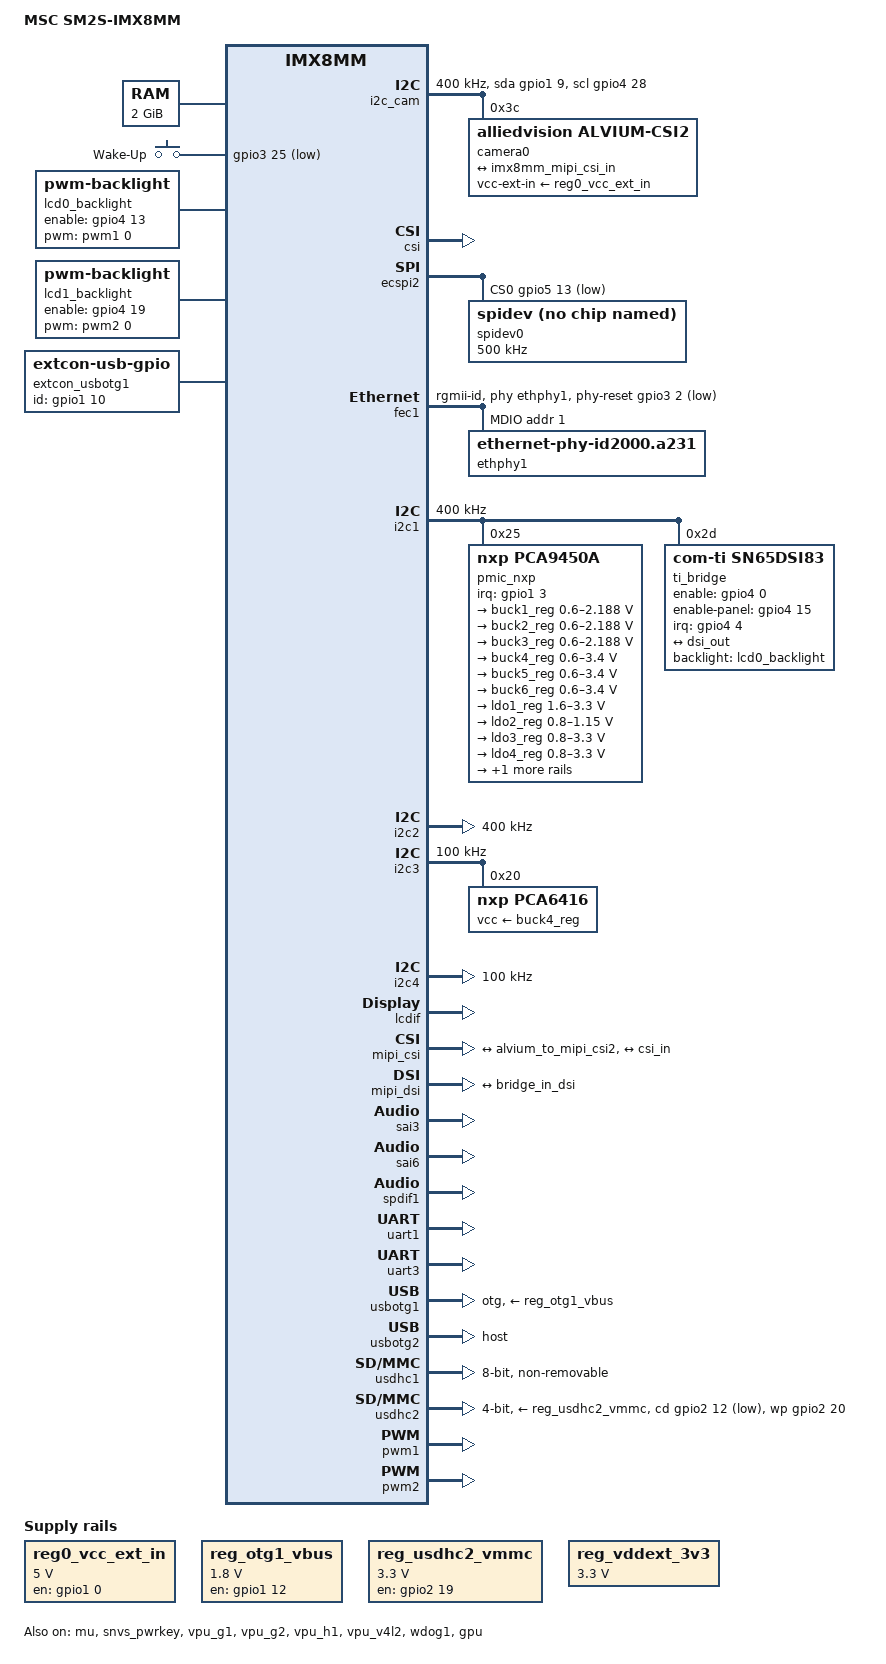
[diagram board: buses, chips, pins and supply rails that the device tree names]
// SPDX-License-Identifier: (GPL-2.0+ OR MIT)
/*
 * Copyright 2020 NXP
 */

/dts-v1/;

#include <dt-bindings/net/ti-dp83867.h>
#include <dt-bindings/phy/phy-imx8-pcie.h>
#include <dt-bindings/usb/pd.h>
#include "imx8mm.dtsi"

/ {
	model = "MSC SM2S-IMX8MM";
	compatible = "msc,imx8mm-sm2s", "fsl,imx8mm";

	aliases {
		i2c4 = &i2c_cam;
	};

	chosen {
		bootargs = "console=ttymxc0,115200 earlycon=ec_imx6q,0x30860000,115200";
		stdout-path = &uart1;
	};

	memory@40000000 {
		device_type = "memory";
		reg = <0x0 0x40000000 0 0x80000000>;
	};

	gpio-keys {
		compatible = "gpio-keys";
		pinctrl-names = "default";
		pinctrl-0 = <&pinctrl_gpio_keys>;

		key-wakeup {
			/* GPIO 8, linux-gpio-id=89 */
			debounce-interval = <10>;
			gpios = <&gpio3 25 GPIO_ACTIVE_LOW>;
			label = "Wake-Up";
			linux,code = <KEY_WAKEUP>;
			wakeup-source;
		};
	};

	reg0_vcc_ext_in: regulator0-vcc-ext-in {
		compatible = "regulator-fixed";
		regulator-name = "vcc0-ext-in";
		pinctrl-names = "default";
		pinctrl-0 = <&pinctrl_csi0_pwn>;
		regulator-min-microvolt = <5000000>;
		regulator-max-microvolt = <5000000>;
		gpio = <&gpio1 0 GPIO_ACTIVE_HIGH>;
		enable-active-high;
	};

	reg_otg1_vbus: reg-otg1-vbus {
		compatible = "regulator-fixed";
		regulator-name = "OTG1_VBUS";
		regulator-min-microvolt = <1800000>;
		regulator-max-microvolt = <1800000>;
		gpio = <&gpio1 12 GPIO_ACTIVE_HIGH>;
		enable-active-high;
	};

	reg_usdhc2_vmmc: reg-usdhc2-vmmc {
		compatible = "regulator-fixed";
		regulator-name = "VSD_3V3";
		regulator-min-microvolt = <3300000>;
		regulator-max-microvolt = <3300000>;
		gpio = <&gpio2 19 GPIO_ACTIVE_HIGH>;
		enable-active-high;
		startup-delay-us = <100>;
		u-boot,off-on-delay-us = <12000>;
	};

	reg_vddext_3v3: regulator-vddext-3v3 {
		compatible = "regulator-fixed";
		regulator-name = "VDDEXT_3V3";
		regulator-min-microvolt = <3300000>;
		regulator-max-microvolt = <3300000>;
	};

	lcd0_backlight: lcd0_backlight {
		pinctrl-names = "default";
		pinctrl-0 = <&pinctrl_lcd0_backlight>;
		compatible = "pwm-backlight";
		pwms = <&pwm1 0 1000000 0>;
		default-brightness-level = <255>;
		num-interpolated-steps = <255>;
		enable-gpios = <&gpio4 13 GPIO_ACTIVE_HIGH>;
		status = "okay";
	};

	lcd1_backlight: lcd1_backlight {
		pinctrl-names = "default";
		pinctrl-0 = <&pinctrl_lcd1_backlight>;
		compatible = "pwm-backlight";
		pwms = <&pwm2 0 1000000 0>;
		default-brightness-level = <255>;
		num-interpolated-steps = <255>;
		enable-gpios = <&gpio4 19 GPIO_ACTIVE_HIGH>;
		status = "okay";
	};

	extcon_usbotg1: extcon_usbotg1 {
		pinctrl-names = "default";
		pinctrl-0 = <&pinctrl_usbotg1_extcon>;
		compatible = "linux,extcon-usb-gpio";
		id-gpio = <&gpio1 10 GPIO_ACTIVE_HIGH>;
	};

	i2c_cam: i2c_cam {
		pinctrl-names = "default";
		pinctrl-0 = <&pinctrl_i2c_cam>;
		compatible = "i2c-gpio";
		#address-cells = <1>;
		#size-cells = <0>;
		sda-gpios = <&gpio1 9 (GPIO_ACTIVE_HIGH | GPIO_OPEN_DRAIN)>;
		scl-gpios = <&gpio4 28 (GPIO_ACTIVE_HIGH | GPIO_OPEN_DRAIN)>;
		clock-frequency = <400000>;
		status = "okay";

		camera0: alvium@3c {
			compatible = "alliedvision,alvium-csi2";
			reg = <0x3c>;
			vcc-ext-in-supply = <&reg0_vcc_ext_in>;
			status = "okay";

			port {
				alvium_to_mipi_csi2: endpoint {
					remote-endpoint = <&imx8mm_mipi_csi_in>;
					clock-lanes = <0>;
					data-lanes = <1 2>;
					link-frequencies = /bits/ 64 <456000000>;
				};
			};
		};
	};
};

&A53_0 {
	cpu-supply = <&buck2_reg>;
};

&A53_1 {
	cpu-supply = <&buck2_reg>;
};

&A53_2 {
	cpu-supply = <&buck2_reg>;
};

&A53_3 {
	cpu-supply = <&buck2_reg>;
};

&csi {
	status = "okay";
};

&ecspi2 {
	#address-cells = <1>;
	#size-cells = <0>;
	fsl,spi-num-chipselects = <1>;
	pinctrl-names = "default";
	pinctrl-0 = <&pinctrl_ecspi2 &pinctrl_ecspi2_cs>;
	cs-gpios = <&gpio5 13 GPIO_ACTIVE_LOW>;
	status = "okay";

	spidev0: spi@0 {
		reg = <0>;
		compatible = "rohm,dh2228fv";
		spi-max-frequency = <500000>;
	};
};

&fec1 {
	pinctrl-names = "default";
	pinctrl-0 = <&pinctrl_fec1>;
	phy-mode = "rgmii-id";
	phy-handle = <&ethphy1>;
	phy-reset-gpios = <&gpio3 2 GPIO_ACTIVE_LOW>;
	fsl,magic-packet;
	status = "okay";

	mdio {
		#address-cells = <1>;
		#size-cells = <0>;

		ethphy1: ethernet-phy@1 {
			reg = <1>;
			compatible = "ethernet-phy-id2000.a231";
			ti,rx-internal-delay = <DP83867_RGMIIDCTL_2_25_NS>;
			ti,tx-internal-delay = <DP83867_RGMIIDCTL_2_75_NS>;
			ti,fifo-depth = <DP83867_PHYCR_FIFO_DEPTH_4_B_NIB>;
		};
	};
};

&i2c1 {
	clock-frequency = <400000>;
	pinctrl-names = "default";
	pinctrl-0 = <&pinctrl_i2c1>;
	status = "okay";

	pmic_nxp: pca9450@25 {
		compatible = "nxp,pca9450a";
		reg = <0x25>;
		pinctrl-0 = <&pinctrl_pmic>;
		pinctrl-names = "default";
		interrupt-parent = <&gpio1>;
		interrupts = <3 IRQ_TYPE_LEVEL_LOW>;

		regulators {
			buck1_reg: BUCK1 {
				regulator-name = "BUCK1";
				regulator-min-microvolt = <600000>;
				regulator-max-microvolt = <2187500>;
				regulator-boot-on;
				regulator-always-on;
				regulator-ramp-delay = <3125>;
				nxp,dvs-run-voltage = <850000>;
				nxp,dvs-standby-voltage = <800000>;
			};

			buck2_reg: BUCK2 {
				regulator-name = "BUCK2";
				regulator-min-microvolt = <600000>;
				regulator-max-microvolt = <2187500>;
				regulator-boot-on;
				regulator-always-on;
				regulator-ramp-delay = <3125>;
			};

			buck3_reg: BUCK3 {
				regulator-name = "BUCK3";
				regulator-min-microvolt = <600000>;
				regulator-max-microvolt = <2187500>;
				regulator-boot-on;
				regulator-always-on;
			};

			buck4_reg: BUCK4 {
				regulator-name = "BUCK4";
				regulator-min-microvolt = <600000>;
				regulator-max-microvolt = <3400000>;
				regulator-boot-on;
				regulator-always-on;
			};

			buck5_reg: BUCK5 {
				regulator-name = "BUCK5";
				regulator-min-microvolt = <600000>;
				regulator-max-microvolt = <3400000>;
				regulator-boot-on;
				regulator-always-on;
			};

			buck6_reg: BUCK6 {
				regulator-name = "BUCK6";
				regulator-min-microvolt = <600000>;
				regulator-max-microvolt = <3400000>;
				regulator-boot-on;
				regulator-always-on;
			};

			ldo1_reg: LDO1 {
				regulator-name = "LDO1";
				regulator-min-microvolt = <1600000>;
				regulator-max-microvolt = <3300000>;
				regulator-boot-on;
				regulator-always-on;
			};

			ldo2_reg: LDO2 {
				regulator-name = "LDO2";
				regulator-min-microvolt = <800000>;
				regulator-max-microvolt = <1150000>;
				regulator-boot-on;
				regulator-always-on;
			};

			ldo3_reg: LDO3 {
				regulator-name = "LDO3";
				regulator-min-microvolt = <800000>;
				regulator-max-microvolt = <3300000>;
				regulator-boot-on;
				regulator-always-on;
			};

			ldo4_reg: LDO4 {
				regulator-name = "LDO4";
				regulator-min-microvolt = <800000>;
				regulator-max-microvolt = <3300000>;
				regulator-boot-on;
				regulator-always-on;
			};

			ldo5_reg: LDO5 {
				regulator-name = "LDO5";
				regulator-min-microvolt = <1800000>;
				regulator-max-microvolt = <3300000>;
			};
		};
	};

	ti_bridge: sn65dsi84@2d {
		compatible = "com-ti,sn65dsi83";
		reg = <0x2d>;
		pinctrl-names = "default";
		pinctrl-0 = <&pinctrl_lvds_bridge>, <&pinctrl_lcd0_panel>;
		enable-gpios = <&gpio4 0 GPIO_ACTIVE_HIGH>;
		enable-panel-gpios = <&gpio4 15 GPIO_ACTIVE_HIGH>;
		backlight = <&lcd0_backlight>;
		interrupts-extended = <&gpio4 4 IRQ_TYPE_LEVEL_HIGH>;

		ti,dsi-lanes = <4>;
		ti,lvds-format = <0>;
		ti,lvds-bpp = <24>;
		ti,width-mm = <261>;
		ti,height-mm = <163>;
		ti,lvds-channels = <1>;
		status = "okay";

		port {
			bridge_in_dsi: endpoint {
				remote-endpoint = <&dsi_out>;
			};
		};

		display-timings {
			lvds {
				clock-frequency = <71428000>;
				hactive = <1280>;
				vactive = <800>;
				hback-porch = <48>;
				hfront-porch = <48>;
				vback-porch = <10>;
				vfront-porch = <10>;
				hsync-len = <64>;
				vsync-len = <4>;
				hsync-active = <0>;
				vsync-active = <0>;
				de-active = <1>;
				pixelclk-active = <0>;
			};
		};
	};
};

&i2c2 {
	clock-frequency = <400000>;
	pinctrl-names = "default";
	pinctrl-0 = <&pinctrl_i2c2>;
	status = "okay";
};

&i2c3 {
	clock-frequency = <100000>;
	pinctrl-names = "default";
	pinctrl-0 = <&pinctrl_i2c3>;
	status = "okay";

	pca6416: gpio@20 {
		compatible = "nxp,pca6416";
		reg = <0x20>;
		gpio-controller;
		#gpio-cells = <2>;
		vcc-supply = <&buck4_reg>;
	};
};

&i2c4 {
	clock-frequency = <100000>;
	pinctrl-names = "default";
	pinctrl-0 = <&pinctrl_i2c4>;
	status = "okay";
};

&lcdif {
	status = "okay";
};

&mipi_csi {
	status = "okay";
	clock-frequency = <456000000>;

	ports {
		#address-cells = <1>;
		#size-cells = <0>;

		port@0 {
			reg = <0>;

			imx8mm_mipi_csi_in: endpoint {
				remote-endpoint = <&alvium_to_mipi_csi2>;
				data-lanes = <1 2>;
			};
		};

		port@1 {
			reg = <1>;

			imx8mm_mipi_csi_out: endpoint {
				remote-endpoint = <&csi_in>;
			};
		};
	};
};

&mipi_dsi {
	status = "okay";

	port@1 {
		dsi_out: endpoint {
			remote-endpoint = <&bridge_in_dsi>;
			attach-bridge;
		};
	};
};

&mu {
	status = "okay";
};

&sai3 {
	pinctrl-names = "default";
	pinctrl-0 = <&pinctrl_sai3>;
	assigned-clocks = <&clk IMX8MM_CLK_SAI3>;
	assigned-clock-parents = <&clk IMX8MM_AUDIO_PLL1_OUT>;
	assigned-clock-rates = <24576000>;
	fsl,sai-mclk-direction-output;
	status = "okay";
};

&sai6 {
	fsl,sai-monitor-spdif;
	fsl,sai-asynchronous;
	status = "okay";
};

&snvs_pwrkey {
	status = "okay";
};

&spdif1 {
	pinctrl-names = "default";
	pinctrl-0 = <&pinctrl_spdif1>;
	assigned-clocks = <&clk IMX8MM_CLK_SPDIF1>;
	assigned-clock-parents = <&clk IMX8MM_AUDIO_PLL1_OUT>;
	assigned-clock-rates = <24576000>;
	clocks = <&clk IMX8MM_CLK_AUDIO_AHB>, <&clk IMX8MM_CLK_24M>,
		<&clk IMX8MM_CLK_SPDIF1>, <&clk IMX8MM_CLK_DUMMY>,
		<&clk IMX8MM_CLK_DUMMY>, <&clk IMX8MM_CLK_DUMMY>,
		<&clk IMX8MM_CLK_AUDIO_AHB>, <&clk IMX8MM_CLK_DUMMY>,
		<&clk IMX8MM_CLK_DUMMY>, <&clk IMX8MM_CLK_DUMMY>,
		<&clk IMX8MM_AUDIO_PLL1_OUT>, <&clk IMX8MM_AUDIO_PLL2_OUT>;
	clock-names = "core", "rxtx0", "rxtx1", "rxtx2", "rxtx3",
		"rxtx4", "rxtx5", "rxtx6", "rxtx7", "spba", "pll8k", "pll11k";
	status = "okay";
};

&uart1 { /* console */
	pinctrl-names = "default";
	pinctrl-0 = <&pinctrl_uart1>;
	fsl,uart-has-rtscts;
	status = "okay";
};

&uart3 {
	pinctrl-names = "default";
	pinctrl-0 = <&pinctrl_uart3>;
	assigned-clocks = <&clk IMX8MM_CLK_UART3>;
	assigned-clock-parents = <&clk IMX8MM_SYS_PLL1_80M>;
	fsl,uart-has-rtscts;
	status = "okay";
};

&usbphynop1 {
	wakeup-source;
};

&usbotg1 {
	pinctrl-names = "default";
	pinctrl-0 = <&pinctrl_usbotg1>;
	vbus-supply = <&reg_otg1_vbus>;
	dr_mode = "otg";
	extcon = <&extcon_usbotg1>;
	status = "okay";
};

&usbotg2 {
	pinctrl-names = "default";
	pinctrl-0 = <&pinctrl_usbotg2>;
	dr_mode = "host";
	status = "okay";
};

&usdhc1 {
	pinctrl-names = "default", "state_100mhz", "state_200mhz";
	pinctrl-0 = <&pinctrl_usdhc1>, <&pinctrl_usdhc1_reset>;
	pinctrl-1 = <&pinctrl_usdhc1_100mhz>, <&pinctrl_usdhc1_reset>;
	pinctrl-2 = <&pinctrl_usdhc1_200mhz>, <&pinctrl_usdhc1_reset>;
	bus-width = <8>;
	non-removable;
	status = "okay";
};

&usdhc2 {
	pinctrl-names = "default", "state_100mhz", "state_200mhz";
	pinctrl-0 = <&pinctrl_usdhc2>, <&pinctrl_usdhc2_gpio>;
	pinctrl-1 = <&pinctrl_usdhc2_100mhz>, <&pinctrl_usdhc2_gpio>;
	pinctrl-2 = <&pinctrl_usdhc2_200mhz>, <&pinctrl_usdhc2_gpio>;
	bus-width = <4>;
	cd-gpios = <&gpio2 12 GPIO_ACTIVE_LOW>;
	wp-gpios = <&gpio2 20 GPIO_ACTIVE_HIGH>;
	vmmc-supply = <&reg_usdhc2_vmmc>;
	no-1-8-v;
	status = "okay";
};

&usdhc3 {
	pinctrl-names = "default";
	pinctrl-0 = <&pinctrl_usdhc3>, <&pinctrl_usdhc3_gpio>;
	bus-width = <4>;
	cd-gpios = <&gpio1 14 GPIO_ACTIVE_LOW>;
	disable-wp;
	status = "disabled";
};

&vpu_g1 {
	status = "okay";
};

&vpu_g2 {
	status = "okay";
};

&vpu_h1 {
	status = "okay";
};

&vpu_v4l2 {
	status = "okay";
};

&wdog1 {
	pinctrl-names = "default";
	pinctrl-0 = <&pinctrl_wdog>;
	fsl,ext-reset-output;
	status = "okay";
};

&pwm1 {
	pinctrl-names = "default";
	pinctrl-0 = <&pinctrl_pwm1>;
	status = "okay";
};

&pwm2 {
	pinctrl-names = "default";
	pinctrl-0 = <&pinctrl_pwm2>;
	status = "okay";
};

&gpu {
	status = "okay";
};

&iomuxc {

	pinctrl_csi0_pwn: csi0_pwn_grp {
		fsl,pins = <
			MX8MM_IOMUXC_GPIO1_IO00_GPIO1_IO0	0x40000019
		>;
	};

	pinctrl_ecspi2: ecspi2grp {
		fsl,pins = <
			MX8MM_IOMUXC_ECSPI2_SCLK_ECSPI2_SCLK		0x82
			MX8MM_IOMUXC_ECSPI2_MOSI_ECSPI2_MOSI		0x82
			MX8MM_IOMUXC_ECSPI2_MISO_ECSPI2_MISO		0x82
		>;
	};

	pinctrl_ecspi2_cs: ecspi2cs {
		fsl,pins = <
			MX8MM_IOMUXC_ECSPI2_SS0_GPIO5_IO13		0x40000
		>;
	};

	pinctrl_fec1: fec1grp {
		fsl,pins = <
			MX8MM_IOMUXC_ENET_MDC_ENET1_MDC			0x3
			MX8MM_IOMUXC_ENET_MDIO_ENET1_MDIO		0x3
			MX8MM_IOMUXC_ENET_TX_CTL_ENET1_RGMII_TX_CTL	0x1f
			MX8MM_IOMUXC_ENET_TXC_ENET1_RGMII_TXC		0x1f
			MX8MM_IOMUXC_ENET_TD0_ENET1_RGMII_TD0		0x1f
			MX8MM_IOMUXC_ENET_TD1_ENET1_RGMII_TD1		0x1f
			MX8MM_IOMUXC_ENET_TD2_ENET1_RGMII_TD2		0x1f
			MX8MM_IOMUXC_ENET_TD3_ENET1_RGMII_TD3		0x1f
			MX8MM_IOMUXC_ENET_RX_CTL_ENET1_RGMII_RX_CTL	0x91
			MX8MM_IOMUXC_ENET_RXC_ENET1_RGMII_RXC		0x91
			MX8MM_IOMUXC_ENET_RD0_ENET1_RGMII_RD0		0x91
			MX8MM_IOMUXC_ENET_RD1_ENET1_RGMII_RD1		0x91
			MX8MM_IOMUXC_ENET_RD2_ENET1_RGMII_RD2		0x91
			MX8MM_IOMUXC_ENET_RD3_ENET1_RGMII_RD3		0x91
			MX8MM_IOMUXC_NAND_CE1_B_GPIO3_IO2		0x19
			MX8MM_IOMUXC_NAND_CE2_B_GPIO3_IO3		0x40000019
			MX8MM_IOMUXC_GPIO1_IO08_ENET1_1588_EVENT0_IN	0x19
		>;
	};

	pinctrl_gpio_keys: gpiokeysgrp {
		fsl,pins = <
			MX8MM_IOMUXC_SAI5_MCLK_GPIO3_IO25	0x40000019
		>;
	};

	pinctrl_gpio_wlf: gpiowlfgrp {
		fsl,pins = <
			MX8MM_IOMUXC_I2C4_SDA_GPIO5_IO21	0xd6
		>;
	};

	pinctrl_i2c1: i2c1grp {
		fsl,pins = <
			MX8MM_IOMUXC_I2C1_SCL_I2C1_SCL		0x400001c3
			MX8MM_IOMUXC_I2C1_SDA_I2C1_SDA		0x400001c3
		>;
	};

	pinctrl_i2c2: i2c2grp {
		fsl,pins = <
			MX8MM_IOMUXC_I2C2_SCL_I2C2_SCL		0x400001c3
			MX8MM_IOMUXC_I2C2_SDA_I2C2_SDA		0x400001c3
		>;
	};

	pinctrl_i2c3: i2c3grp {
		fsl,pins = <
			MX8MM_IOMUXC_I2C3_SCL_I2C3_SCL		0x400001c3
			MX8MM_IOMUXC_I2C3_SDA_I2C3_SDA		0x400001c3
		>;
	};

	pinctrl_i2c4: i2c4grp {
		fsl,pins = <
			MX8MM_IOMUXC_I2C4_SCL_I2C4_SCL		0x400001c3
			MX8MM_IOMUXC_I2C4_SDA_I2C4_SDA		0x400001c3
		>;
	};

	pinctrl_i2c_cam: i2ccamgrp {
		fsl,pins = <
			MX8MM_IOMUXC_GPIO1_IO09_GPIO1_IO9	0x40000019 /* SDA */
			MX8MM_IOMUXC_SAI3_RXFS_GPIO4_IO28	0x40000019 /* SCL */
		>;
	};

	pinctrl_pmic: pmicirqgrp {
		fsl,pins = <
			MX8MM_IOMUXC_GPIO1_IO03_GPIO1_IO3	0x141
		>;
	};

	pinctrl_sai3: sai3grp {
		fsl,pins = <
			MX8MM_IOMUXC_SAI3_TXFS_SAI3_TX_SYNC	0xd6
			MX8MM_IOMUXC_SAI3_TXC_SAI3_TX_BCLK	0xd6
			MX8MM_IOMUXC_SAI3_MCLK_SAI3_MCLK	0xd6
			MX8MM_IOMUXC_SAI3_TXD_SAI3_TX_DATA0	0xd6
		>;
	};

	pinctrl_spdif1: spdif1grp {
		fsl,pins = <
			MX8MM_IOMUXC_SPDIF_TX_SPDIF1_OUT	0xd6
		>;
	};

	pinctrl_typec1: typec1grp {
		fsl,pins = <
			MX8MM_IOMUXC_SD1_STROBE_GPIO2_IO11	0x159
		>;
	};

	pinctrl_uart1: uart1grp {
		fsl,pins = <
			MX8MM_IOMUXC_UART1_RXD_UART1_DCE_RX	0x49
			MX8MM_IOMUXC_UART1_TXD_UART1_DCE_TX	0x49
			MX8MM_IOMUXC_SAI2_TXFS_GPIO4_IO24	0x116
			MX8MM_IOMUXC_SAI2_RXD0_GPIO4_IO23	0x116
		>;
	};

	pinctrl_uart3: uart3grp {
		fsl,pins = <
			MX8MM_IOMUXC_ECSPI1_SCLK_UART3_DCE_RX		0x140
			MX8MM_IOMUXC_ECSPI1_MOSI_UART3_DCE_TX		0x140
			MX8MM_IOMUXC_ECSPI1_SS0_UART3_DCE_RTS_B 	0x140
			MX8MM_IOMUXC_ECSPI1_MISO_UART3_DCE_CTS_B	0x140
		>;
	};

	pinctrl_usdhc1: usdhc1grp {
		fsl,pins = <
			MX8MM_IOMUXC_SD1_CLK_USDHC1_CLK		0x40000190
			MX8MM_IOMUXC_SD1_CMD_USDHC1_CMD		0x1d0
			MX8MM_IOMUXC_SD1_DATA0_USDHC1_DATA0	0x1d0
			MX8MM_IOMUXC_SD1_DATA1_USDHC1_DATA1	0x1d0
			MX8MM_IOMUXC_SD1_DATA2_USDHC1_DATA2	0x1d0
			MX8MM_IOMUXC_SD1_DATA3_USDHC1_DATA3	0x1d0
			MX8MM_IOMUXC_SD1_DATA4_USDHC1_DATA4	0x1d0
			MX8MM_IOMUXC_SD1_DATA5_USDHC1_DATA5	0x1d0
			MX8MM_IOMUXC_SD1_DATA6_USDHC1_DATA6	0x1d0
			MX8MM_IOMUXC_SD1_DATA7_USDHC1_DATA7	0x1d0
			MX8MM_IOMUXC_SD1_STROBE_USDHC1_STROBE	0x190
		>;
	};

	pinctrl_usdhc1_100mhz: usdhc1grp-100mhz {
		fsl,pins = <
			MX8MM_IOMUXC_SD1_CLK_USDHC1_CLK		0x40000194
			MX8MM_IOMUXC_SD1_CMD_USDHC1_CMD		0x1d4
			MX8MM_IOMUXC_SD1_DATA0_USDHC1_DATA0	0x1d4
			MX8MM_IOMUXC_SD1_DATA1_USDHC1_DATA1	0x1d4
			MX8MM_IOMUXC_SD1_DATA2_USDHC1_DATA2	0x1d4
			MX8MM_IOMUXC_SD1_DATA3_USDHC1_DATA3	0x1d4
			MX8MM_IOMUXC_SD1_DATA4_USDHC1_DATA4	0x1d4
			MX8MM_IOMUXC_SD1_DATA5_USDHC1_DATA5	0x1d4
			MX8MM_IOMUXC_SD1_DATA6_USDHC1_DATA6	0x1d4
			MX8MM_IOMUXC_SD1_DATA7_USDHC1_DATA7	0x1d4
			MX8MM_IOMUXC_SD1_STROBE_USDHC1_STROBE	0x194
		>;
	};

	pinctrl_usdhc1_200mhz: usdhc1grp-200mhz {
		fsl,pins = <
			MX8MM_IOMUXC_SD1_CLK_USDHC1_CLK		0x40000196
			MX8MM_IOMUXC_SD1_CMD_USDHC1_CMD		0x1d6
			MX8MM_IOMUXC_SD1_DATA0_USDHC1_DATA0	0x1d6
			MX8MM_IOMUXC_SD1_DATA1_USDHC1_DATA1	0x1d6
			MX8MM_IOMUXC_SD1_DATA2_USDHC1_DATA2	0x1d6
			MX8MM_IOMUXC_SD1_DATA3_USDHC1_DATA3	0x1d6
			MX8MM_IOMUXC_SD1_DATA4_USDHC1_DATA4	0x1d6
			MX8MM_IOMUXC_SD1_DATA5_USDHC1_DATA5	0x1d6
			MX8MM_IOMUXC_SD1_DATA6_USDHC1_DATA6	0x1d6
			MX8MM_IOMUXC_SD1_DATA7_USDHC1_DATA7	0x1d6
			MX8MM_IOMUXC_SD1_STROBE_USDHC1_STROBE	0x196
		>;
	};

	pinctrl_usdhc1_reset: usdhc1grp-reset {
		fsl,pins = <
			MX8MM_IOMUXC_SD1_RESET_B_USDHC1_RESET_B	0x116
		>;
	};

	pinctrl_usdhc2_gpio: usdhc2grp-gpio {
		fsl,pins = <
			MX8MM_IOMUXC_SD2_RESET_B_GPIO2_IO19	0x36
			MX8MM_IOMUXC_SD2_CD_B_GPIO2_IO12	0x41
			MX8MM_IOMUXC_SD2_WP_GPIO2_IO20		0x41
			MX8MM_IOMUXC_NAND_DQS_GPIO3_IO14	0x41
			MX8MM_IOMUXC_GPIO1_IO04_USDHC2_VSELECT	0x1d0
		>;
	};

	pinctrl_usdhc2: usdhc2grp {
		fsl,pins = <
			MX8MM_IOMUXC_SD2_CLK_USDHC2_CLK		0x92
			MX8MM_IOMUXC_SD2_CMD_USDHC2_CMD		0x92
			MX8MM_IOMUXC_SD2_DATA0_USDHC2_DATA0	0x92
			MX8MM_IOMUXC_SD2_DATA1_USDHC2_DATA1	0x92
			MX8MM_IOMUXC_SD2_DATA2_USDHC2_DATA2	0x92
			MX8MM_IOMUXC_SD2_DATA3_USDHC2_DATA3	0x92
		>;
	};

	pinctrl_usdhc2_100mhz: usdhc2grp-100mhz {
		fsl,pins = <
			MX8MM_IOMUXC_SD2_CLK_USDHC2_CLK		0x94
			MX8MM_IOMUXC_SD2_CMD_USDHC2_CMD		0x94
			MX8MM_IOMUXC_SD2_DATA0_USDHC2_DATA0	0x94
			MX8MM_IOMUXC_SD2_DATA1_USDHC2_DATA1	0x94
			MX8MM_IOMUXC_SD2_DATA2_USDHC2_DATA2	0x94
			MX8MM_IOMUXC_SD2_DATA3_USDHC2_DATA3	0x94
		>;
	};

	pinctrl_usdhc2_200mhz: usdhc2grp-200mhz {
		fsl,pins = <
			MX8MM_IOMUXC_SD2_CLK_USDHC2_CLK		0x96
			MX8MM_IOMUXC_SD2_CMD_USDHC2_CMD		0x96
			MX8MM_IOMUXC_SD2_DATA0_USDHC2_DATA0	0x96
			MX8MM_IOMUXC_SD2_DATA1_USDHC2_DATA1	0x96
			MX8MM_IOMUXC_SD2_DATA2_USDHC2_DATA2	0x96
			MX8MM_IOMUXC_SD2_DATA3_USDHC2_DATA3	0x96
		>;
	};

	pinctrl_usdhc3_gpio: usdhc3grp-gpio {
		fsl,pins = <
			MX8MM_IOMUXC_GPIO1_IO14_GPIO1_IO14	0x41
		>;
	};

	pinctrl_usdhc3: usdhc3grp {
		fsl,pins = <
			MX8MM_IOMUXC_NAND_WE_B_USDHC3_CLK	0x190
			MX8MM_IOMUXC_NAND_WP_B_USDHC3_CMD	0x190
			MX8MM_IOMUXC_NAND_DATA04_USDHC3_DATA0	0x190
			MX8MM_IOMUXC_NAND_DATA05_USDHC3_DATA1	0x190
			MX8MM_IOMUXC_NAND_DATA06_USDHC3_DATA2	0x190
			MX8MM_IOMUXC_NAND_DATA07_USDHC3_DATA3	0x190
		>;
	};

	pinctrl_usbotg1: usbotg1grp {
		fsl,pins = <
			MX8MM_IOMUXC_GPIO1_IO12_GPIO1_IO12	0x19
			MX8MM_IOMUXC_GPIO1_IO13_USB1_OTG_OC	0x40000019
		>;
	};

	pinctrl_usbotg1_extcon: usbotg1extcongrp {
		fsl,pins = <
			MX8MM_IOMUXC_GPIO1_IO10_GPIO1_IO10	0x40000019
		>;
	};

	pinctrl_usbotg2: usbotg2grp {
		fsl,pins = <
			MX8MM_IOMUXC_NAND_READY_B_GPIO3_IO16	0x40000019
			MX8MM_IOMUXC_NAND_CE3_B_GPIO3_IO4	0x19
		>;
	};

	pinctrl_wdog: wdoggrp {
		fsl,pins = <
			MX8MM_IOMUXC_GPIO1_IO02_WDOG1_WDOG_B	0x166
		>;
	};

	pinctrl_pwm1: pwm1grp {
		fsl,pins = <
			MX8MM_IOMUXC_SPDIF_EXT_CLK_PWM1_OUT	0x19
		>;
	};

	pinctrl_pwm2: pwm2grp {
		fsl,pins = <
			MX8MM_IOMUXC_SPDIF_RX_PWM2_OUT		0x19
		>;
	};

	pinctrl_lcd0_backlight: lcd0grpbacklightgrp {
		fsl,pins = <
			MX8MM_IOMUXC_SAI1_TXD1_GPIO4_IO13	0x19
		>;
	};

	pinctrl_lcd0_panel: lcd0grp-panel {
		fsl,pins = <
			MX8MM_IOMUXC_SAI1_TXD3_GPIO4_IO15	0x19
		>;
	};


	pinctrl_lcd1_backlight: lcd1grp-backlight {
		fsl,pins = <
			MX8MM_IOMUXC_SAI1_TXD2_GPIO4_IO14	0x19
		>;
	};

	pinctrl_lcd1_panel: lcd1grp-panel {
		fsl,pins = <
			MX8MM_IOMUXC_SAI1_TXD4_GPIO4_IO16	0x19
		>;
	};

	pinctrl_lvds_bridge: lvdsgrp-bridge {
		fsl,pins = <
			MX8MM_IOMUXC_SAI1_RXFS_GPIO4_IO0	0x19
			MX8MM_IOMUXC_SAI1_RXD2_GPIO4_IO4	0x40000019
		>;
	};
};
